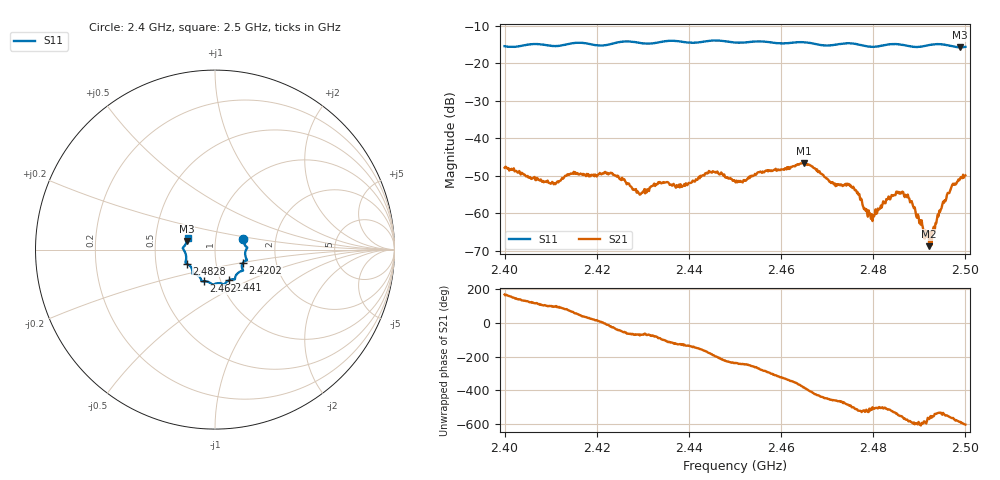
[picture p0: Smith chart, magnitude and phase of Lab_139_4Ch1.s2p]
# Hz S RI R 50
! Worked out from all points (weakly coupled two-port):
!   601 points, 2.4 GHz to 2.5 GHz, reference 50 ohm
!   highest |S21| = -46.58 dB at 2.465 GHz (marker M1); lowest = -68.7 dB at 2.4922 GHz (marker M2)
!   lowest |S11| = -15.8 dB at 2.4988 GHz (marker M3), VSWR 1.39, Z = 36.3 + j3.42 ohm
!   |S11| at or under -10 dB: start of sweep to end of sweep
!   S12 and S22 are empty: the file has one direction only
!   S11 on the Smith chart (normalised r, x): 2.4 GHz: 1.36, +0.17; 2.4202 GHz: 1.36, -0.20; 2.441 GHz: 1.10, -0.39; 2.462 GHz: 0.83, -0.30; 2.4828 GHz: 0.72, -0.12; 2.5 GHz: 0.73, +0.09
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2.4e9  0.1572 0.0607  -0.00398 0.000752  0 0  0 0
2.4105e9  0.169 -0.0125  -0.000388 0.00252  0 0  0 0
2.416667e9  0.1775 -0.0592  0.00243 0.00226  0 0  0 0
2.420167e9  0.1569 -0.072  0.00312 0.000764  0 0  0 0
2.4235e9  0.1508 -0.1033  0.003 -0.00133  0 0  0 0
2.429167e9  0.1427 -0.1209  0.000723 -0.00168  0 0  0 0
2.433333e9  0.1127 -0.1519  2.21e-05 -0.00259  0 0  0 0
2.441e9  0.0773 -0.1706  -0.00204 -0.00174  0 0  0 0
2.444833e9  0.0539 -0.1925  -0.00353 0.000254  0 0  0 0
2.45e9  0.0272 -0.1867  -0.00149 0.0022  0 0  0 0
2.462e9  -0.0613 -0.1762  0.00384 0.00113  0 0  0 0
2.465e9  -0.075 -0.1747  0.00434 -0.00177  0 0  0 0
2.466667e9  -0.0776 -0.1672  0.00278 -0.00317  0 0  0 0
2.475167e9  -0.1263 -0.1338  -0.00146 -0.00171  0 0  0 0
2.479333e9  -0.1318 -0.1005  -0.000926 -0.000355  0 0  0 0
2.482833e9  -0.1578 -0.0779  -0.00133 -0.000792  0 0  0 0
2.483333e9  -0.1608 -0.0765  -0.00149 -0.000782  0 0  0 0
2.487333e9  -0.1612 -0.0562  -0.00138 0.00088  0 0  0 0
2.492167e9  -0.1746 -0.00133  -0.000317 0.000181  0 0  0 0
2.496667e9  -0.1691 0.0217  -0.00189 0.000612  0 0  0 0
2.498833e9  -0.1564 0.0458  -0.00201 0.00204  0 0  0 0
2.5e9  -0.1532 0.062  -0.00149 0.00284  0 0  0 0
